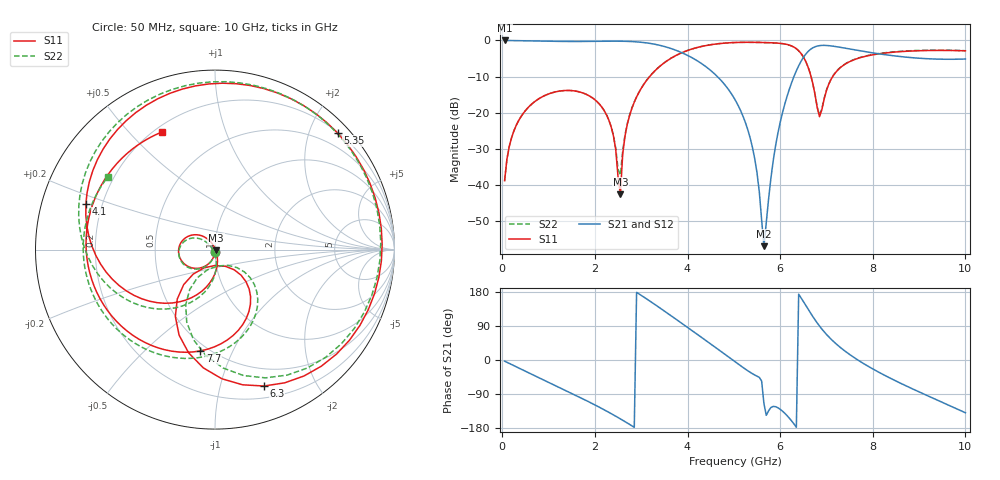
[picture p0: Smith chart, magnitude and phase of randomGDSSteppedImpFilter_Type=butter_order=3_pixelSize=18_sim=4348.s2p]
! freq	dB(S11)	phase(S11)	dB(S12)	phase(S12)
!  dB(S21)	phase(S21)	dB(S22)	phase(S22)
!S-par simulation data
#  GHz  S  DB  R 50
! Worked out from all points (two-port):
!   200 points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, 50 MHz to 10 GHz, reference 50 ohm
!   highest |S21| = -0.01 dB at 50 MHz (marker M1); lowest = -56.9 dB at 5.65 GHz (marker M2)
!   |S21| within 3 dB of the highest: start of sweep to 3.806 GHz; 6.608 GHz to 7.786 GHz (1.178 GHz wide, 16.4 % of centre)
!   lowest |S11| = -42.6 dB at 2.55 GHz (marker M3), VSWR 1.01, Z = 50.5 - j0.504 ohm
!   |S11| at or under -10 dB: start of sweep to 3.182 GHz; 6.667 GHz to 7.135 GHz (468.4 MHz wide, 6.79 % of centre)
!   |S22| runs from -38.8 to -0.5 dB; largest |S21 - S12| = 0
!   S11 on the Smith chart (normalised r, x): 50 MHz: 1.00, -0.02; 4.1 GHz: 0.14, +0.17; 5.35 GHz: 0.21, +2.48; 6.3 GHz: 0.31, -1.37; 7.7 GHz: 0.45, -0.76; 10 GHz: 0.23, +0.62
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0.05  -38.81 -92.4  -0.01 -3.0  -0.01 -3.0  -38.80 -92.2
0.2  -26.93 -102.1  -0.03 -12.0  -0.03 -12.0  -26.93 -101.5
0.55  -18.67 -123.8  -0.11 -32.6  -0.11 -32.6  -18.67 -122.2
1.75  -14.58 163.6  -0.28 -103.1  -0.28 -103.1  -14.58 169.9
2.3  -22.01 126.7  -0.21 -138.0  -0.21 -138.0  -21.98 140.8
2.55  -42.60 -42.2  -0.21 -155.4  -0.21 -155.4  -37.21 -122.8
2.6  -31.46 -67.9  -0.22 -159.0  -0.22 -159.0  -30.56 -91.0
2.75  -20.71 -82.9  -0.28 -170.0  -0.28 -170.0  -20.57 -85.6
3.4  -7.17 -137.5  -1.35 137.7  -1.35 137.7  -7.15 -130.9
4.1  -2.35 160.6  -4.80 77.3  -4.80 77.3  -2.34 170.8
5.05  -0.56 73.1  -16.94 -6.7  -16.94 -6.7  -0.56 86.3
5.35  -0.51 43.6  -26.87 -32.3  -26.87 -32.3  -0.52 56.9
5.65  -0.58 12.6  -56.92 -115.1  -56.92 -115.1  -0.59 25.3
5.9  -0.70 -15.4  -29.21 -123.2  -29.21 -123.2  -0.72 -3.6
6.3  -1.86 -70.3  -9.92 -169.0  -9.92 -169.0  -1.87 -60.1
6.7  -11.64 -131.8  -2.08 115.6  -2.08 115.6  -11.61 -122.4
6.85  -21.09 -89.2  -1.43 89.5  -1.43 89.5  -20.69 -80.4
7.2  -8.82 -57.0  -1.70 43.5  -1.70 43.5  -8.76 -49.2
7.7  -4.88 -98.2  -2.82 -1.8  -2.82 -1.8  -4.81 -88.7
8.35  -3.36 -144.0  -4.09 -46.3  -4.09 -46.3  -3.28 -130.2
9.15  -2.80 165.9  -5.04 -92.5  -5.04 -92.5  -2.71 -172.5
10  -2.87 114.3  -5.14 -139.2  -5.14 -139.2  -2.84 145.8
